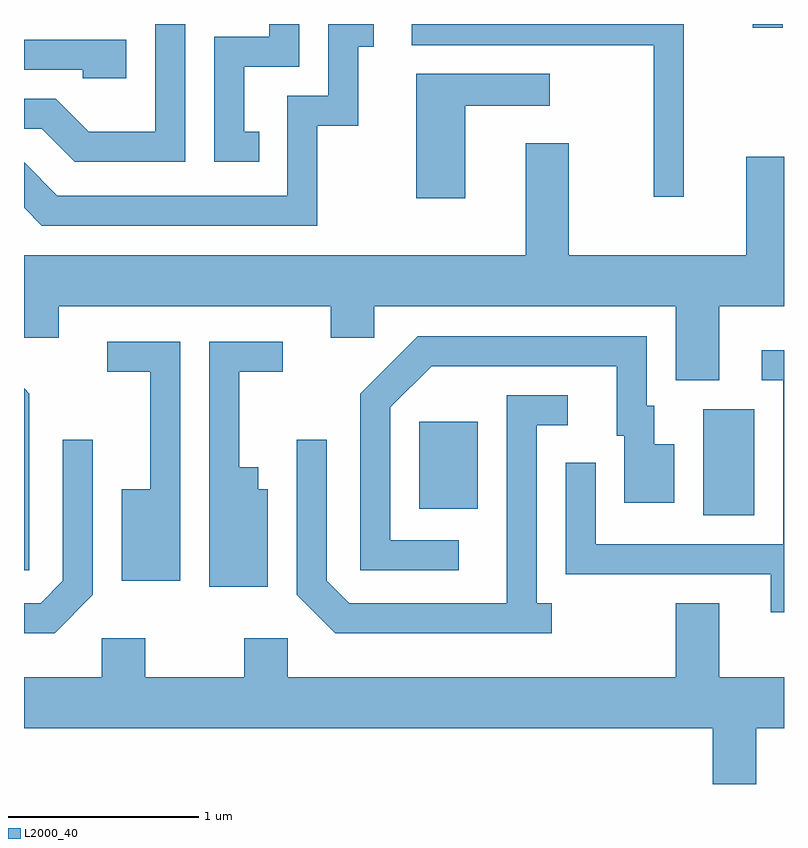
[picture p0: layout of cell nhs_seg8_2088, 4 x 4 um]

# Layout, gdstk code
import gdstk
lib = gdstk.Library(unit=1e-6, precision=1e-09)
def R(c, l, rs):  # rectangles x0, y0, x1, y1
    for r in rs: c.add(gdstk.rectangle(r[:2], r[2:], *l))
def P(c, l, *ps):  # polygons
    for p in ps: c.add(gdstk.Polygon(p, *l))
L2000_40 = (2000, 40)

nhs_seg8_2088 = lib.new_cell('nhs_seg8_2088')
R(nhs_seg8_2088, L2000_40, [(251.186,1839.756,251.454,1840.314), (249.691,1839.791,249.999,1840.249), (251.446,1842.323,251.604,1842.342)])
P(nhs_seg8_2088, L2000_40, [(248.459,1842.342),(248.301,1842.342),(248.301,1841.774),(247.952,1841.774),(247.777,1841.949),(247.611,1841.949),(247.611,1841.791),(247.704,1841.791),(247.879,1841.616),(248.459,1841.616)],
  [(251.084,1842.342),(249.653,1842.342),(249.653,1842.231),(250.926,1842.231),(250.926,1841.433),(251.084,1841.433)],
  [(248.848,1841.774),(248.769,1841.774),(248.769,1842.116),(249.059,1842.116),(249.059,1842.342),(248.901,1842.342),(248.901,1842.274),(248.611,1842.274),(248.611,1841.616),(248.848,1841.616)],
  [(249.154,1841.806),(249.369,1841.806),(249.369,1842.221),(249.453,1842.221),(249.453,1842.342),(249.211,1842.342),(249.211,1841.964),(248.996,1841.964),(248.996,1841.439),(247.787,1841.439),(247.611,1841.615),(247.611,1841.374),(247.704,1841.281),(249.154,1841.281)],
  [(248.149,1842.259),(247.611,1842.259),(247.611,1842.101),(247.921,1842.101),(247.921,1842.056),(248.149,1842.056)],
  [(249.934,1841.911),(250.378,1841.911),(250.378,1842.079),(249.676,1842.079),(249.676,1841.426),(249.934,1841.426)],
  [(251.269,1840.856),(251.611,1840.856),(251.611,1841.644),(251.411,1841.644),(251.411,1841.124),(250.479,1841.124),(250.479,1841.714),(250.251,1841.714),(250.251,1841.124),(247.611,1841.124),(247.611,1840.691),(247.794,1840.691),(247.794,1840.856),(249.226,1840.856),(249.226,1840.691),(249.454,1840.691),(249.454,1840.856),(251.041,1840.856),(251.041,1840.466),(251.269,1840.466)],
  [(249.898,1839.624),(249.539,1839.624),(249.539,1840.324),(249.757,1840.541),(250.731,1840.541),(250.731,1840.176),(250.771,1840.176),(250.771,1839.821),(251.034,1839.821),(251.034,1840.129),(250.929,1840.129),(250.929,1840.334),(250.889,1840.334),(250.889,1840.699),(249.684,1840.699),(249.381,1840.397),(249.381,1839.466),(249.898,1839.466)],
  [(248.434,1840.669),(248.048,1840.669),(248.048,1840.511),(248.276,1840.511),(248.276,1839.894),(248.126,1839.894),(248.126,1839.411),(248.434,1839.411)],
  [(248.894,1839.894),(248.844,1839.894),(248.844,1840.009),(248.744,1840.009),(248.744,1840.511),(248.973,1840.511),(248.973,1840.669),(248.586,1840.669),(248.586,1839.381),(248.894,1839.381)],
  [(251.611,1840.624),(251.493,1840.624),(251.493,1840.466),(251.606,1840.466),(251.606,1839.604),(250.619,1839.604),(250.619,1840.033),(250.461,1840.033),(250.461,1839.446),(251.541,1839.446),(251.541,1839.246),(251.611,1839.246)],
  [(247.639,1840.397),(247.611,1840.425),(247.611,1839.466),(247.639,1839.466)],
  [(250.388,1839.294),(250.309,1839.294),(250.309,1840.231),(250.473,1840.231),(250.473,1840.389),(250.151,1840.389),(250.151,1839.294),(249.322,1839.294),(249.204,1839.412),(249.204,1840.153),(249.046,1840.153),(249.046,1839.339),(249.249,1839.136),(250.388,1839.136)],
  [(247.974,1839.339),(247.974,1840.153),(247.816,1840.153),(247.816,1839.412),(247.699,1839.294),(247.611,1839.294),(247.611,1839.136),(247.772,1839.136)],
  [(251.464,1838.636),(251.611,1838.636),(251.611,1838.904),(251.269,1838.904),(251.269,1839.294),(251.041,1839.294),(251.041,1838.904),(248.999,1838.904),(248.999,1839.109),(248.771,1839.109),(248.771,1838.904),(248.249,1838.904),(248.249,1839.109),(248.021,1839.109),(248.021,1838.904),(247.611,1838.904),(247.611,1838.636),(251.236,1838.636),(251.236,1838.342),(251.464,1838.342)])

lib.write_gds('nhs_seg8_2088.gds')
